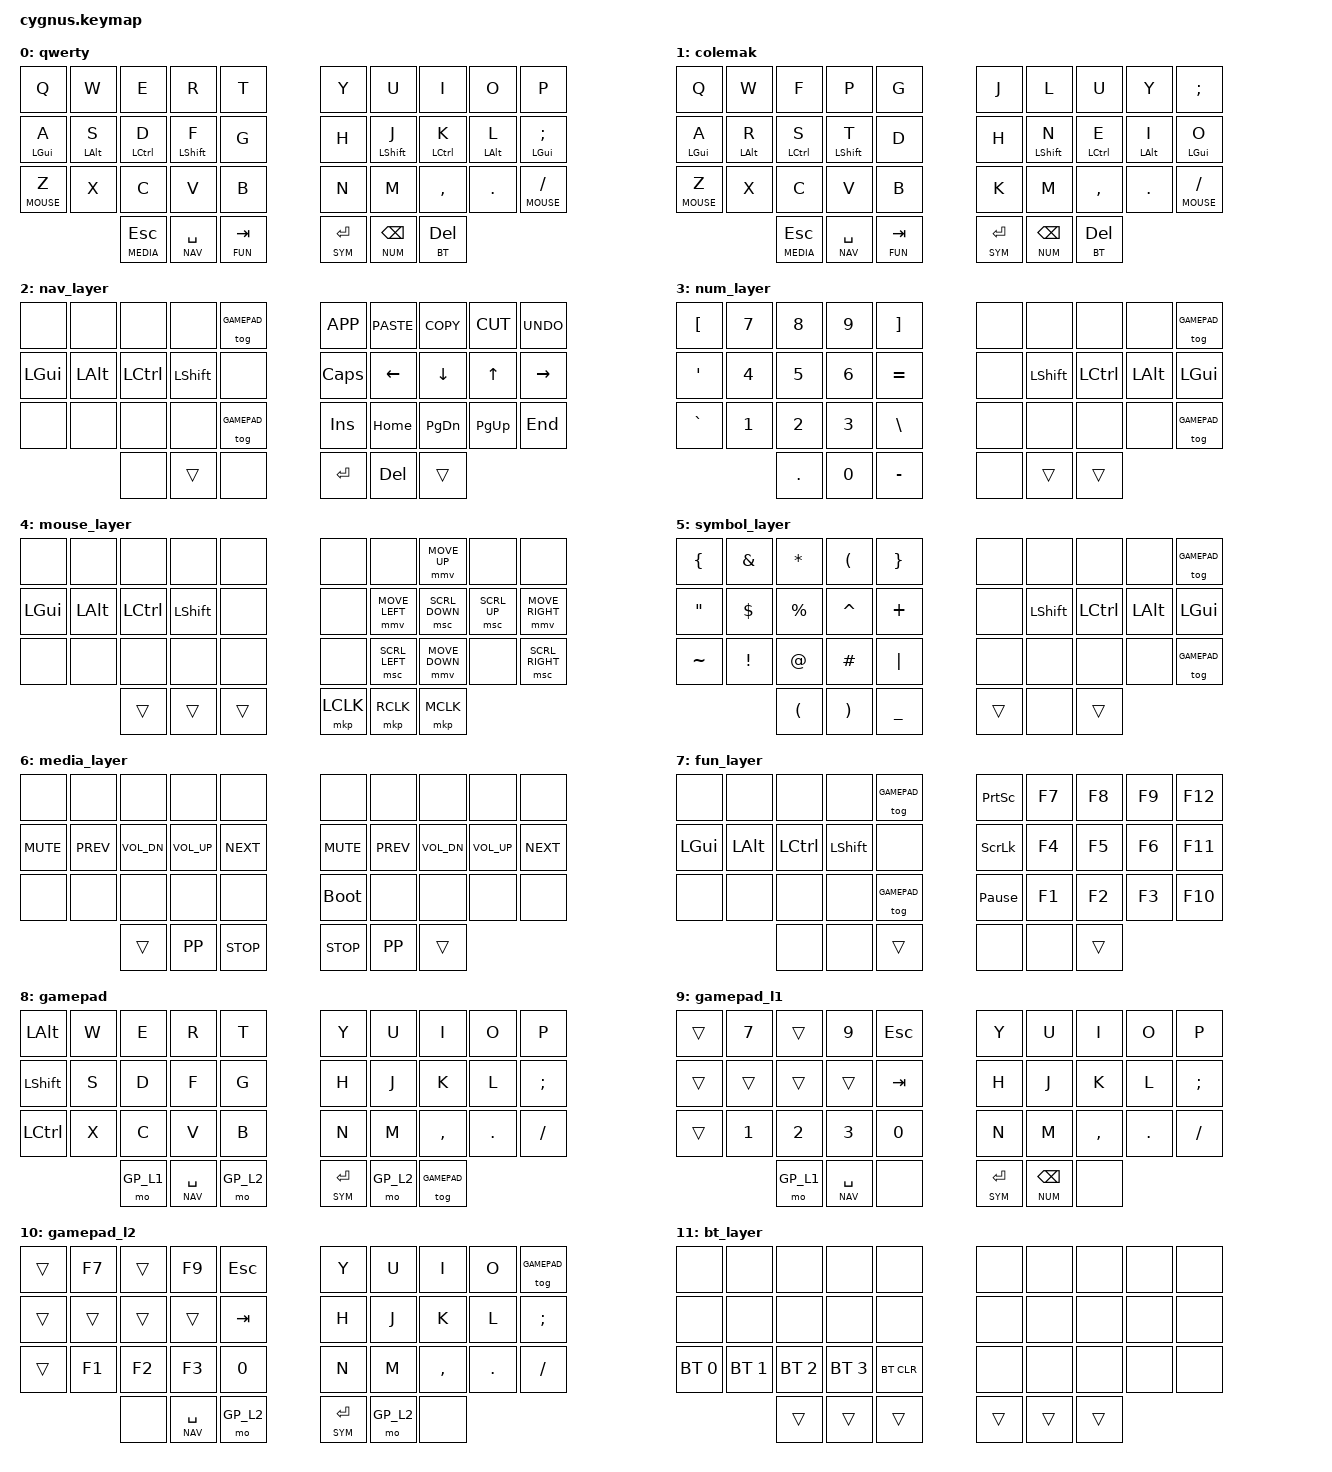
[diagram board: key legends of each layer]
#include <behaviors.dtsi>
#include <dt-bindings/zmk/keys.h>
#include <dt-bindings/zmk/bt.h>
#include <dt-bindings/zmk/outputs.h>

#define ZMK_POINTING_DEFAULT_MOVE_VAL 1600  // default: 600
#define ZMK_POINTING_DEFAULT_SCRL_VAL 20    // default: 10
#include <dt-bindings/zmk/pointing.h>

// Cygnus keymap: ported from the QMK charybdis keymap
// (bk_qmk_userspace .../charybdis/3x5/keymaps/michalvanko), which is the
// reference layout — skeletyl stays frozen as an archive:
// - QMK combos: Q+P -> colemak, Q+; -> qwerty
// - gamepad layers (base / L1 / L2) with combo + keys to toggle on/off
// - mouse (pointer) layer on Z and /, like QMK POINTER_MOD:
//     n = left, u = up, i = right, , = down  (QMK reference, QWERTY labels)
// - tap the extra 6th thumb (charybdis keymap only used 5) for DEL; hold it
//   for the BT layer (profile select on z x c v, clear bonds on b)

#define QWERTY  0
#define COLEMAK 1
#define NAV     2
#define NUM     3
#define MOUSE   4
#define SYM     5
#define MEDIA   6
#define FUN     7
#define GAMEPAD 8
#define GP_L1   9
#define GP_L2   10
#define BT      11

/ {
    behaviors {
        // Charybdis-parity homerow mods: QMK default tap-hold behavior
        // (tap-preferred, TAPPING_TERM 200, no pinky distinction).
        hm: homerow_mods {
            compatible = "zmk,behavior-hold-tap";
            label = "HOMEROW_MODS";
            #binding-cells = <2>;
            tapping-term-ms = <200>;
            quick-tap-ms = <0>;
            flavor = "tap-preferred";
            bindings = <&kp>, <&kp>;
        };
    };

    combos {
        compatible = "zmk,combos";

        // Q+P: switch to colemak (QMK: DF(LAYER_COLEMAK))
        combo_to_colemak {
            timeout-ms = <50>;
            key-positions = <0 9>;
            bindings = <&to COLEMAK>;
        };

        // Q+SEMI: switch back to qwerty (QMK: DF(LAYER_BASE))
        combo_to_qwerty {
            timeout-ms = <50>;
            key-positions = <0 19>;
            bindings = <&to QWERTY>;
        };

        // Combo for bluetooth control
        // (i.e. switch among the devices).
        combo_bt_next {
            timeout-ms = <50>;
            key-positions = <9 19>;
            bindings = <&bt BT_NXT>;
        };
        combo_bt_prev {
            timeout-ms = <50>;
            key-positions = <9 29>;
            bindings = <&bt BT_PRV>;
        };
        combo_bt_out_tog {
            timeout-ms = <50>;
            key-positions = <4 5>;
            bindings = <&out OUT_TOG>;
        };

    };

    keymap {
        compatible = "zmk,keymap";

        qwerty {
            bindings = <
    &kp Q        &kp W       &kp E        &kp R         &kp T  &kp Y  &kp U         &kp I        &kp O       &kp P
    &hm LGUI A   &hm LALT S  &hm LCTRL D  &hm LSHIFT F  &kp G  &kp H  &hm LSHIFT J  &hm LCTRL K  &hm LALT L  &hm LGUI SEMI
    &lt MOUSE Z  &kp X       &kp C        &kp V         &kp B  &kp N  &kp M         &kp COMMA    &kp DOT     &lt MOUSE FSLH
                             &lt MEDIA ESC  &lt NAV SPACE  &lt FUN TAB    &lt SYM RET    &lt NUM BSPC   &lt BT DEL
            >;
        };

        colemak {
            bindings = <
    &kp Q        &kp W       &kp F        &kp P         &kp G  &kp J  &kp L         &kp U        &kp Y       &kp SEMI
    &hm LGUI A   &hm LALT R  &hm LCTRL S  &hm LSHIFT T  &kp D  &kp H  &hm LSHIFT N  &hm LCTRL E  &hm LALT I  &hm LGUI O
    &lt MOUSE Z  &kp X       &kp C        &kp V         &kp B  &kp K  &kp M         &kp COMMA    &kp DOT     &lt MOUSE FSLH
                             &lt MEDIA ESC  &lt NAV SPACE  &lt FUN TAB    &lt SYM RET    &lt NUM BSPC   &lt BT DEL
            >;
        };

        nav_layer {
            bindings = <
    &none     &none     &none      &none       &tog GAMEPAD  &kp K_APP  &kp K_PASTE  &kp K_COPY  &kp K_CUT  &kp K_UNDO
    &kp LGUI  &kp LALT  &kp LCTRL  &kp LSHIFT  &none         &kp CAPS   &kp LEFT     &kp DOWN    &kp UP     &kp RIGHT
    &none     &none     &none      &none       &tog GAMEPAD  &kp INS    &kp HOME     &kp PG_DN   &kp PG_UP  &kp END
                        &none    &trans   &none    &kp RET  &kp DEL  &trans
            >;
        };

        num_layer {
            bindings = <
    &kp LBKT   &kp N7  &kp N8  &kp N9  &kp RBKT   &none  &none       &none      &none     &tog GAMEPAD
    &kp SQT    &kp N4  &kp N5  &kp N6  &kp EQUAL  &none  &kp LSHIFT  &kp LCTRL  &kp LALT  &kp LGUI
    &kp GRAVE  &kp N1  &kp N2  &kp N3  &kp BSLH   &none  &none       &none      &none     &tog GAMEPAD
                       &kp DOT    &kp N0     &kp MINUS  &none      &trans     &trans
            >;
        };

        mouse_layer {
            // Hold Z (or /) to activate. Colemak labels:
            // move diamond: u=up ,=down n=left o=right
            // scroll:       m=left e=down i=up /=right
            bindings = <
    &none     &none     &none      &none       &none  &none  &none  &mmv MOVE_UP  &none  &none
    &kp LGUI  &kp LALT  &kp LCTRL  &kp LSHIFT  &none  &none  &mmv MOVE_LEFT  &msc SCRL_DOWN  &msc SCRL_UP  &mmv MOVE_RIGHT
    &none     &none     &none      &none       &none  &none  &msc SCRL_LEFT  &mmv MOVE_DOWN  &none  &msc SCRL_RIGHT
                        &trans     &trans     &trans     &mkp LCLK  &mkp RCLK  &mkp MCLK
            >;
        };

        symbol_layer {
            bindings = <
    &kp LBRC   &kp AMPS  &kp ASTRK  &kp LPAR   &kp RBRC  &none  &none       &none      &none     &tog GAMEPAD
    &kp DQT    &kp DLLR  &kp PRCNT  &kp CARET  &kp PLUS  &none  &kp LSHIFT  &kp LCTRL  &kp LALT  &kp LGUI
    &kp TILDE  &kp EXCL  &kp AT     &kp HASH   &kp PIPE  &none  &none       &none      &none     &tog GAMEPAD
                         &kp LPAR   &kp RPAR   &kp UNDER  &trans     &none      &trans
            >;
        };

        media_layer {
            bindings = <
    &none       &none       &none         &none         &none       &none        &none       &none         &none         &none
    &kp K_MUTE  &kp K_PREV  &kp K_VOL_DN  &kp K_VOL_UP  &kp K_NEXT  &kp K_MUTE   &kp K_PREV  &kp K_VOL_DN  &kp K_VOL_UP  &kp K_NEXT
    &none       &none       &none         &none         &none       &bootloader  &none       &none         &none         &none
                            &trans      &kp K_PP    &kp K_STOP  &kp K_STOP  &kp K_PP    &trans
            >;
        };

        fun_layer {
            bindings = <
    &none     &none     &none      &none       &tog GAMEPAD  &kp PSCRN        &kp F7  &kp F8  &kp F9  &kp F12
    &kp LGUI  &kp LALT  &kp LCTRL  &kp LSHIFT  &none         &kp SLCK         &kp F4  &kp F5  &kp F6  &kp F11
    &none     &none     &none      &none       &tog GAMEPAD  &kp PAUSE_BREAK  &kp F1  &kp F2  &kp F3  &kp F10
                        &none   &none   &trans  &none   &none   &trans
            >;
        };

        gamepad {
            // QMK LAYER_GAMEPAD_BASE: no home row mods, ALT/SHIFT/CTRL on the
            // left main keys; thumbs reach gamepad L1/L2 + nav/sym.
            bindings = <
    &kp LALT    &kp W  &kp E  &kp R  &kp T  &kp Y  &kp U  &kp I      &kp O    &kp P
    &kp LSHIFT  &kp S  &kp D  &kp F  &kp G  &kp H  &kp J  &kp K      &kp L    &kp SEMI
    &kp LCTRL   &kp X  &kp C  &kp V  &kp B  &kp N  &kp M  &kp COMMA  &kp DOT  &kp FSLH
                       &mo GP_L1      &lt NAV SPACE  &mo GP_L2      &lt SYM RET    &mo GP_L2      &tog GAMEPAD
            >;
        };

        gamepad_l1 {
            // QMK LAYER_GAMEPAD_L1: numbers for the left hand.
            bindings = <
    &trans  &kp N7  &trans  &kp N9  &kp ESC  &kp Y  &kp U  &kp I      &kp O    &kp P
    &trans  &trans  &trans  &trans  &kp TAB  &kp H  &kp J  &kp K      &kp L    &kp SEMI
    &trans  &kp N1  &kp N2  &kp N3  &kp N0   &kp N  &kp M  &kp COMMA  &kp DOT  &kp FSLH
                    &mo GP_L1      &lt NAV SPACE  &none          &lt SYM RET    &lt NUM BSPC   &none
            >;
        };

        gamepad_l2 {
            // QMK LAYER_GAMEPAD_L2: function keys for the left hand.
            bindings = <
    &trans  &kp F7  &trans  &kp F9  &kp ESC  &kp Y  &kp U  &kp I      &kp O    &tog GAMEPAD
    &trans  &trans  &trans  &trans  &kp TAB  &kp H  &kp J  &kp K      &kp L    &kp SEMI
    &trans  &kp F1  &kp F2  &kp F3  &kp N0   &kp N  &kp M  &kp COMMA  &kp DOT  &kp FSLH
                    &none          &lt NAV SPACE  &mo GP_L2      &lt SYM RET    &mo GP_L2      &none
            >;
        };

        bt_layer {
            // Hold the extra 6th thumb: z x c v select BT profiles 0-3,
            // b clears the bonds of the current profile.
            bindings = <
    &none         &none         &none         &none         &none       &none  &none  &none  &none  &none
    &none         &none         &none         &none         &none       &none  &none  &none  &none  &none
    &bt BT_SEL 0  &bt BT_SEL 1  &bt BT_SEL 2  &bt BT_SEL 3  &bt BT_CLR  &none  &none  &none  &none  &none
                                &trans  &trans  &trans  &trans  &trans  &trans
            >;
        };
    };
};
